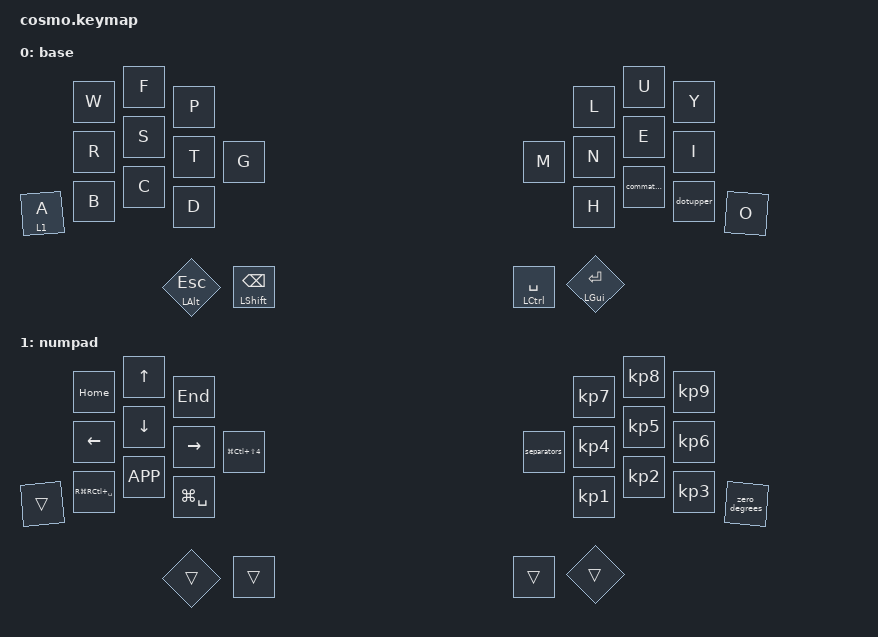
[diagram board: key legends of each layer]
#include <behaviors.dtsi>
#include <dt-bindings/zmk/keys.h>
#include <dt-bindings/zmk/bt.h>

/ {
    
    macros {
      qu:qu {
             compatible = "zmk,behavior-macro";
             #binding-cells = <0>;
             bindings
                 = <&macro_tap &kp Q &kp U>
                 ;
         };
      capqu:capqu {
             compatible = "zmk,behavior-macro";
             #binding-cells = <0>;
             bindings
                 = <&macro_press &kp RSHIFT>
                 , <&macro_tap &kp Q >
                 , <&macro_release &kp RSHIFT>
                 , <&macro_tap &kp U>
                 ;
         };

    };

    behaviors {
      lt: layer_tap {
            flavor = "balanced";
            tapping-term-ms = <200>;
            require-prior-idle-ms = <90>;
            //retro-tap;
          };
      mt: mod_tap {
        quick-tap-ms = <450>;
          };

      updownu:updownu {
               compatible = "zmk,behavior-mod-morph";
               #binding-cells = <0>;
               bindings = <&qutest>, <&capqu>;
               mods = <(MOD_LSFT)>;
            };
      qutest:qutest {
               compatible = "zmk,behavior-mod-morph";
               #binding-cells = <0>;
               bindings = <&qu>, <&kp Q>;
               mods = <(MOD_LALT|MOD_RALT)>;
            };

      dashes: en_em_dash {
               compatible = "zmk,behavior-mod-morph";
               #binding-cells = <0>;
               bindings = <&kp MINUS>, <&kp RS(RA(MINUS))>;
               mods = <(MOD_LSFT|MOD_RSFT)>;
           };
      permilcent: cent_mil {
               compatible = "zmk,behavior-mod-morph";
               #binding-cells = <0>;
               bindings = <&kp PERCENT>, <&kp RS(RA(R))>;
               mods = <(MOD_LSFT|MOD_RSFT)>;
           };
      zero_degrees: zero_but_degree {
               compatible = "zmk,behavior-mod-morph";
               #binding-cells = <0>;
               bindings = <&kp KP_N0>, <&kp RA(N0)>;
               mods = <(MOD_LSFT|MOD_RSFT)>;
           };
      separators: dot_or_comma {
               compatible = "zmk,behavior-mod-morph";
               #binding-cells = <0>;
               bindings = <&aux_separators >, <&kp COMMA>;
               mods = <(MOD_LSFT|MOD_RSFT)>;
           };
      aux_separators: normal_or_C {
               compatible = "zmk,behavior-mod-morph";
               #binding-cells = <0>;
               bindings = <&kp DOT >, <&kp SQT>;
               mods = <(MOD_LALT|MOD_RALT)>;
           };
      starmul: threemuls {
               compatible = "zmk,behavior-mod-morph";
               #binding-cells = <0>;
               bindings = <&xmul>, <&kp RA(N8)>;
               mods = <(MOD_LSFT|MOD_RSFT)>;
           };
      xmul: threemuls_aux {
               compatible = "zmk,behavior-mod-morph";
               #binding-cells = <0>;
               bindings = <&kp STAR>, <&kp RC(RS(RA(X)))>;
               mods = <(MOD_LALT|MOD_RALT)>;
           };
      infinity_rp: infinity_rp {
               compatible = "zmk,behavior-mod-morph";
               #binding-cells = <0>;
               bindings = <&kp RPAR>, <&kp RA(N5)>;
               mods = <(MOD_LSFT|MOD_RSFT)>;
           };
      gt_gtq: gt_gtq {
               compatible = "zmk,behavior-mod-morph";
               #binding-cells = <0>;
               bindings = <&kp GT>, <&kp RS(RA(BSLH))>;
               mods = <(MOD_LSFT|MOD_RSFT)>;
           };
      lt_ltq: lt_ltq {
               compatible = "zmk,behavior-mod-morph";
               #binding-cells = <0>;
               bindings = <&kp LT>, <&kp RA(BSLH)>;
               mods = <(MOD_LSFT|MOD_RSFT)>;
           };
      and_section: and_section {
               compatible = "zmk,behavior-mod-morph";
               #binding-cells = <0>;
               bindings = <&kp AMPS>, <&kp RA(N6)>;
               mods = <(MOD_LSFT|MOD_RSFT)>;
           };
      twodivides: twodivides {
               compatible = "zmk,behavior-mod-morph";
               #binding-cells = <0>;
               bindings = <&kp SLASH>, <&kp RA(SLASH)>;
               mods = <(MOD_LSFT|MOD_RSFT)>;
           };
      almostequal: almostequal {
               compatible = "zmk,behavior-mod-morph";
               #binding-cells = <0>;
               bindings = <&kp EQUAL>, <&kp RA(X)>;
               mods = <(MOD_LSFT|MOD_RSFT)>;
           };
      quotebacktick: quotebacktick {
               compatible = "zmk,behavior-mod-morph";
               #binding-cells = <0>;
               bindings = <&kp SQT>, <&kp GRAVE>;
               mods = <(MOD_LSFT|MOD_RSFT)>;
           };
      plusminus: plusminus {
               compatible = "zmk,behavior-mod-morph";
               #binding-cells = <0>;
               bindings = <&kp PLUS>, <&kp RS(RA(EQUAL))>;
               mods = <(MOD_LSFT|MOD_RSFT)>;
           };
      exclinv: exclinv {
               compatible = "zmk,behavior-mod-morph";
               #binding-cells = <0>;
               bindings = <&kp  EXCL>, <&kp RA(N1)>;
               mods = <(MOD_LSFT|MOD_RSFT)>;
           };
      questioninv: questioninv {
               compatible = "zmk,behavior-mod-morph";
               #binding-cells = <0>;
               bindings = <&kp QUESTION>, <&kp RS(RA(SLASH))>;
               mods = <(MOD_LSFT|MOD_RSFT)>;
           };
      commatwiddle: commatwiddle {
               compatible = "zmk,behavior-mod-morph";
               #binding-cells = <0>;
               bindings = <&kp COMMA>, <&kp TILDE>;
               mods = <(MOD_LSFT|MOD_RSFT)>;
           };
      dotupper: dotupper {
               compatible = "zmk,behavior-mod-morph";
               #binding-cells = <0>;
               bindings = <&kp DOT>, <&kp CARET>;
               mods = <(MOD_LSFT|MOD_RSFT)>;
           };
    };

    combos { 
        compatible = "zmk,combos";
        //
        // home row TODO: timing adjustments, homerow mods?
        //
        combo_l_paren {
            key-positions = <7 8>;
            bindings = <&kp LPAR>;
            layers = <0>;
        };
        combo_r_paren {
            key-positions = <13 14>;
            bindings = <&infinity_rp>;
            layers = <0>;
        };
        combo_tab {
            key-positions = <7 8 9>;
            bindings = <&kp TAB>;
            layers = <0>;
        };
        combo_c {
            key-positions = <8 9>;
            bindings = <&plusminus>;
            require-prior-idle-ms = <55>;
            timeout-ms = <33>;
            layers = <0>;
        };
        combo_quote {
            key-positions = <7 14>;
            bindings = <&quotebacktick>;
            timeout-ms = <73>;
            layers = <0>;
        };
        combo_equal {
            key-positions = <8 13>;
            bindings = <&almostequal>;
            layers = <0>;
        };
        combo_f {
            key-positions = <9 12>;
            bindings = <&kp DQT>;
            layers = <0>;
        };
        combo_r_bracket {
            key-positions = <12 15>;
            bindings = <&kp RBKT>;
            require-prior-idle-ms = <50>;
            timeout-ms = <33>;
            layers = <0>;
        };
        combo_l_bracket {
            key-positions = <6 9>;
            bindings = <&kp LBKT>;
            layers = <0>;
        };
        combo_l_brace {
            key-positions = <7 9>;
            bindings = <&kp LBRC>;
            layers = <0>;
        };
        combo_r_brace {
            key-positions = <12 14>;
            bindings = <&kp RBRC>;
            require-prior-idle-ms = <88>;
            timeout-ms = <30>;
            layers = <0>;
        };
        combo_dash {
            key-positions = <12 13>;
            bindings = <&dashes>;
            require-prior-idle-ms = <83>;
            timeout-ms = <53>;
            layers = <0>;
        };
        combo_hash {
            key-positions = <7 13>;
            bindings = <&kp HASH>;
            layers = <0>;
        };
        combo_percent_mil {
            key-positions = <8 14>;
            bindings = <&permilcent>;
            layers = <0>;
        };
        combo_backslash {
            key-positions = <6 15>;
            bindings = <&kp BSLH>;
            layers = <0>;
        };


        combo_question {
            key-positions = <20 21>;
            bindings = <&questioninv>;
            layers = <0>;
        };
        combo_underscore {
            key-positions = <18 19>;
            bindings = <&kp UNDERSCORE>;
            layers = <0>;
        };
        combo_r {
            key-positions = <0 1>;
            bindings = <&lt_ltq>;
            layers = <0>;
        };
        combo_s {
            key-positions = <4 5>;
            bindings = <&gt_gtq>;
            layers = <0>;
        };
        combo_colon {
            key-positions = <17 18>;
            bindings = <&kp COLON>;
            layers = <0>;
        };
        combo_semicolon {
            key-positions = <19 20>;
            bindings = <&kp SEMI>;
            layers = <0>;
        };
        combo_ampersand {
            key-positions = <1 4>;
            bindings = <&and_section>;
            layers = <0>;
        };
        combo_pipe {
            key-positions = <0 5>;
            bindings = <&kp PIPE>;
            layers = <0>;
        };
        combo_exclam {
            key-positions = <1 5>;
            bindings = <&exclinv>;
            layers = <0>;
        };
        combo_multiply {
            key-positions = <0 4>;
            bindings = <&starmul>;
            layers = <0>;
        };
        combo_at {
            key-positions = <16 21>;
            bindings = <&kp AT>;
            layers = <0>;
        };
        combo_slash {
            key-positions = <17 20>;
            bindings = <&twodivides>;
            layers = <0>;
        };
        combo_topslash {
            key-positions = <2 3>;
            bindings = <&twodivides>;
            layers = <0>;
        };
        combo_dollar {
            key-positions = <16 17>;
            bindings = <&kp DOLLAR>;
            layers = <0>;
        };

        //
        //bluetooth and firmware controls
        //
        combo_btsel {
            key-positions = <7 8 9 10>;
            bindings = <&bt BT_NXT>;
            layers = <0>;
        };
        combo_btzero {
            key-positions = <6 7 8 9>;
            bindings = <&bt BT_SEL 0>;
            layers = <0>;
        };
        combo_btclr {
            key-positions = <6 7 8 9 10>;
            bindings = <&bt BT_CLR>;
            layers = <0>;
        };
        combo_firmware_reload {
            key-positions = <0 1 2 16 17 18 >;
            bindings = <&bootloader>;
            layers = <0>;
        };
        combo_firmware_reload_right {
            key-positions = <3 4 5 19 20 21>;
            bindings = <&bootloader>;
            layers = <0>;
        };

        //studio
        //combo_studio {
        //    key-positions = <0 7 16>;
        //    bindings = <&studio_unlock>;
        //    layers = <0>;
        //};

        //
        // rare letters on combos
        //
        combo_qu {
            key-positions = <3 5>;
            bindings = <&updownu>;
            layers = <0>;
        };
        combo_j {
            key-positions = <0 2>;
            bindings = <&kp J>;
            layers = <0>;
        };
        combo_x {
            key-positions = <3 4>;
            bindings = <&kp X>;
            timeout-ms = <77>;
            layers = <0>;
        };
        combo_z {
            key-positions = <1 2>;
            bindings = <&kp Z>;
            timeout-ms = <77>;
            layers = <0>;
        };
        combo_k {
            key-positions = <19 21>;
            bindings = <&kp K>;
            timeout-ms = <66>;
            layers = <0>;
        };
        combo_v {
            key-positions = <16 18>;
            bindings = <&kp V>;
            timeout-ms = <77>;
            layers = <0>;
        };
        
    };

    keymap {
        compatible = "zmk,keymap";

        default_layer {
            display-name = "base";
            bindings = <
                &kp W &kp F &kp P   &kp L &kp U &kp Y
                &lt 1 A  &kp R &kp S &kp T &kp G &kp M &kp N &kp E &kp I &kp O
                &kp B &kp C &kp D &kp H &commatwiddle &dotupper 
                &mt LALT ESC &mt LSHIFT BSPC &mt LCTRL SPACE &mt LGUI RET
            >;
        };
        numpad_layer {
            display-name = "numpad";
            bindings = <
                &kp HOME &kp UP &kp END   &kp KP_N7 &kp KP_N8 &kp KP_N9
                &trans  &kp LEFT &kp DOWN &kp RIGHT &kp LG(LC(LS(N4))) &separators &kp KP_N4 &kp KP_N5 &kp KP_N6 &zero_degrees
                &kp RG(RC(SPACE)) &kp K_APP &kp LG(SPACE) &kp KP_N1 &kp KP_N2 &kp KP_N3
                &trans &trans &trans &trans
            >;
        };
    };
};
